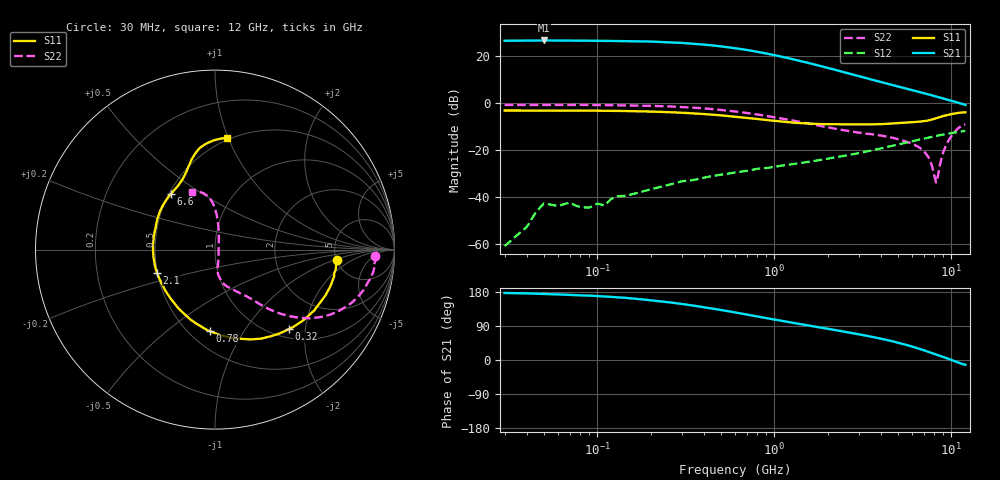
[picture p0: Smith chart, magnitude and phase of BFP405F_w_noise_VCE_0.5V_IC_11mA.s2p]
! Infineon Technologies  Discrete & RF Semiconductors
! BFP405F
! VCE =  0.5 V,  IC =  11 mA
! Common Emitter S-Parameters:  Nov 2015
# GHz  S  MA  R  50
!  f  S11  S21  S12  S22
! GHz  MAG  ANG  MAG  ANG  MAG  ANG  MAG  ANG
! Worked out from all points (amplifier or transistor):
!   239 points, 30 MHz to 12 GHz, reference 50 ohm
!   highest |S21| = 26.4 dB at 50 MHz (marker M1)
!   |S21| within 3 dB of that: start of sweep to 561 MHz
!   unconditionally stable (mu >= 1): start of sweep to 38.96 MHz; 1.433 GHz to end of sweep
!   at 300 MHz: K = 0.33, MSG = 29.4 dB, |S12| = -33.4 dB
!   at 1.88 GHz: K = 1.17, MAG = 17.2 dB, |S12| = -24.2 dB
!   at 12 GHz: K = 1.50, MAG = 1.3 dB, |S12| = -11.9 dB
!   lowest NFmin = 1.74 dB at 450 MHz
!   S11 on the Smith chart (normalised r, x): 30 MHz: 5.04, -1.12; 320 MHz: 1.16, -1.63; 780 MHz: 0.63, -0.72; 2.1 GHz: 0.50, -0.14; 6.6 GHz: 0.51, +0.38; 12 GHz: 0.49, +0.99
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0.03  0.6825 -5.0  20.66 176.8  0.0009 159.4  0.8943 -2.2
0.05  0.6817 -8.9  20.95 174.3  0.0073 74.5  0.8977 -3.8
0.085  0.6786 -13.6  20.71 170.2  0.006 104.7  0.8944 -6.5
0.1  0.6763 -16.1  20.58 168.8  0.0072 86.7  0.8911 -7.8
0.15  0.6625 -24.0  20.31 163.4  0.0109 88.0  0.8744 -11.5
0.2  0.6489 -31.3  19.86 157.5  0.0145 77.6  0.8572 -15.3
0.24  0.6348 -36.8  19.3 153.7  0.0171 73.0  0.8409 -18.0
0.32  0.6041 -47.3  18.25 146.1  0.022 70.0  0.8001 -23.1
0.45  0.558 -62.8  16.43 135.4  0.028 64.3  0.7307 -30.0
0.6  0.5046 -78.5  14.33 125.4  0.0331 60.0  0.6518 -36.0
0.78  0.4555 -93.6  12.25 116.0  0.0388 55.8  0.5706 -40.9
1.1  0.3971 -115.5  9.476 103.4  0.0461 52.7  0.4613 -47.1
1.3  0.3747 -127.0  8.215 97.3  0.0503 52.4  0.4116 -49.6
1.64  0.3565 -142.2  6.652 89.4  0.0571 52.6  0.3487 -53.2
2.1  0.3482 -158.4  5.237 80.7  0.0671 52.0  0.2904 -58.9
2.9  0.3454 -177.7  3.784 69.1  0.0825 51.0  0.2357 -67.1
4.5  0.3593 155.1  2.447 51.0  0.1184 46.7  0.1856 -77.5
6.6  0.3955 128.1  1.692 29.5  0.1644 36.5  0.1118 -83.3
7.6  0.4293 115.2  1.465 20.1  0.1851 31.5  0.0584 -70.9
8.2  0.4669 109.7  1.354 14.7  0.197 27.9  0.0202 -2.7
9.4  0.5434 102.0  1.172 4.8  0.2175 20.9  0.1317 81.8
12  0.6235 84.0  0.896 -12.6  0.2527 8.7  0.3472 111.4
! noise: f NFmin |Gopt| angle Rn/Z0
0.45  1.74  0.18  5  0.33
0.9  1.75  0.17  8  0.34
1.5  1.81  0.15  13  0.24
1.9  1.84  0.13  20  0.28
2.4  1.98  0.12  27  0.33
3  2.05  0.1  39  0.35
3.5  2.11  0.07  44  0.43
4.5  2.28  0.06  40  0.2
5.5  2.5  0.03  17  0.06
